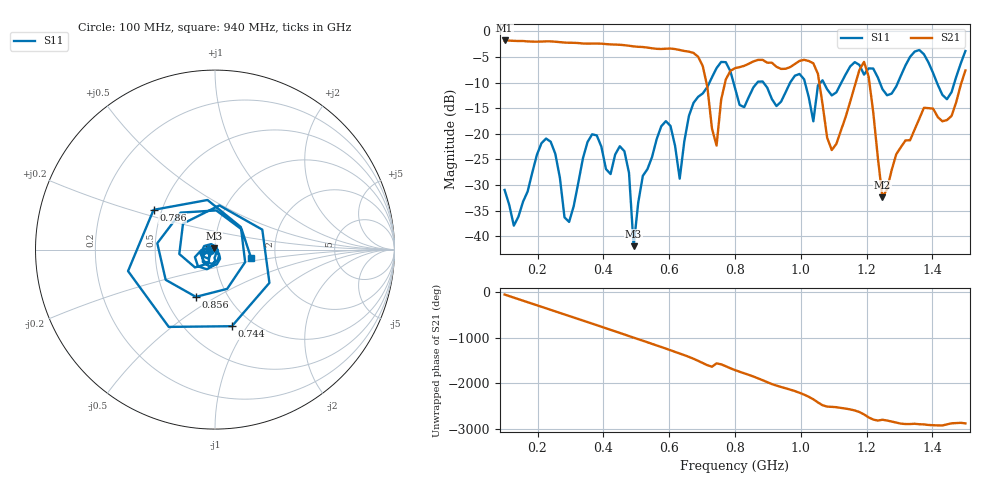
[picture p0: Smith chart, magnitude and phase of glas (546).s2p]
! NanoVNA-App
! Date: 2025-09-25 15:59:43
! Start: 100MHz Stop: 1,5GHz Points: 101
! S-Parameter data: F S11 S21 S12 S22
# Hz S RI R 50
!  Frequency  S11_Real  S11_Imag  S21_Real  S21_Imag  S12_Real  S12_Imag  S22_Real  S22_Imag
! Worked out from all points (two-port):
!   101 points, 100 MHz to 1.5 GHz, reference 50 ohm
!   highest |S21| = -1.80 dB at 100 MHz (marker M1); lowest = -32.4 dB at 1.248 GHz (marker M2)
!   |S21| within 3 dB of the highest: start of sweep to 684.6 MHz
!   lowest |S11| = -41.9 dB at 492 MHz (marker M3), VSWR 1.02, Z = 49.5 + j0.63 ohm
!   |S11| at or under -10 dB: start of sweep to 722.5 MHz; 795.4 MHz to 867.9 MHz (72.47 MHz wide, 8.71 % of centre); 886.3 MHz to 967.7 MHz (81.43 MHz wide, 8.78 % of centre) (the widest 3 of 7)
!   S12 and S22 are empty: the file has one direction only
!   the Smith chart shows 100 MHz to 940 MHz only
!   S11 on the Smith chart (normalised r, x): 100 MHz: 0.95, -0.01; 744 MHz: 0.81, -0.85; 786 MHz: 0.45, +0.24; 856 MHz: 0.71, -0.41; 940 MHz: 1.49, -0.14
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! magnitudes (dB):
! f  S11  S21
! 100 MHz  -30.9  -1.8
! 128 MHz  -37.9  -1.9
! 226 MHz  -20.9  -2.0
! 296 MHz  -37.2  -2.2
! 338 MHz  -24.8  -2.4
! 464 MHz  -23.4  -2.7
! 492 MHz  -41.9  -3.0
! 576 MHz  -18.5  -3.5
! 632 MHz  -28.7  -3.7
! 702 MHz  -12.1  -6.8
! 744 MHz  -7.2  -22.3
! 786 MHz  -7.8  -7.7
! 800 MHz  -11.1  -7.2
! 856 MHz  -10.9  -5.9
! 940 MHz  -13.7  -7.4
! 996 MHz  -8.3  -5.8
! 1.038 GHz  -17.6  -6.3
! 1.094 GHz  -12.5  -23.2
! 1.192 GHz  -8.5  -6.0
! 1.248 GHz  -11.3  -32.4
! 1.276 GHz  -12.2  -27.1
! 1.5 GHz  -3.9  -7.6
